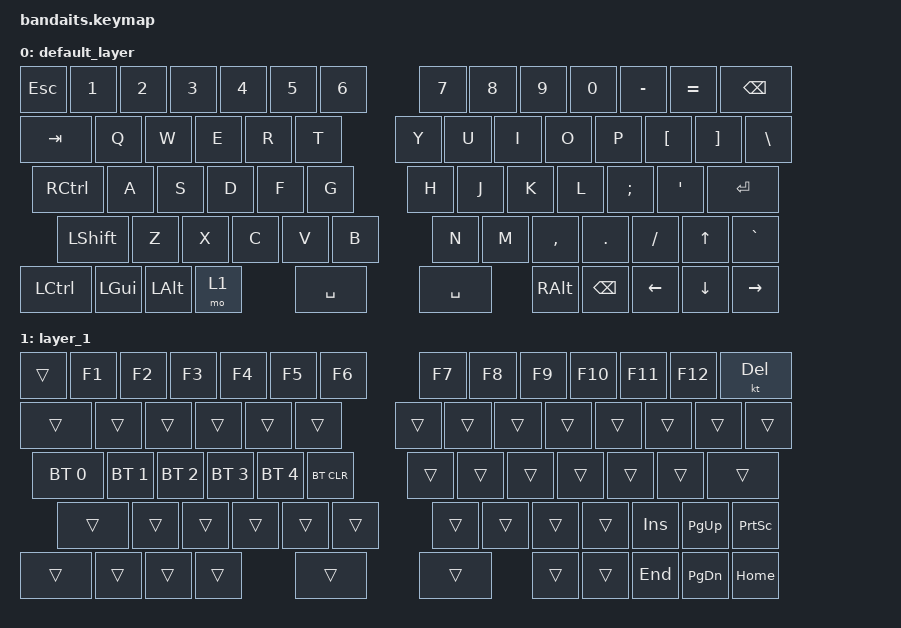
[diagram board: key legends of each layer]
#include <behaviors.dtsi>
#include <dt-bindings/zmk/bt.h>
#include <dt-bindings/zmk/keys.h>

/ {
    keymap {
        compatible = "zmk,keymap";

        default_layer {
            bindings = <
&kp ESC    &kp N1    &kp N2    &kp N3  &kp N4  &kp N5     &kp N6      &kp N7     &kp N8  &kp N9     &kp N0    &kp MINUS      &kp EQUAL       &kp BSPC
&kp TAB    &kp Q     &kp W     &kp E   &kp R   &kp T                  &kp Y      &kp U   &kp I      &kp O     &kp P          &kp LBKT        &kp RBKT        &kp BSLH
&kp RCTRL   &kp A     &kp S     &kp D   &kp F   &kp G                  &kp H      &kp J   &kp K      &kp L     &kp SEMI       &kp APOS        &kp ENTER
&kp LSHFT            &kp Z     &kp X   &kp C   &kp V      &kp B       &kp N      &kp M   &kp COMMA  &kp DOT   &kp FSLH       &kp UP_ARROW    &kp GRAVE
&kp LCTRL  &kp LGUI  &kp LALT  &mo 1           &kp SPACE              &kp SPACE                     &kp RALT  &kp BACKSPACE  &kp LEFT_ARROW  &kp DOWN_ARROW  &kp RIGHT
            >;
        };

        layer_1 {
            bindings = <
&trans        &kp F1        &kp F2        &kp F3        &kp F4        &kp F5      &kp F6      &kp F7  &kp F8  &kp F9  &kp F10  &kp F11     &kp F12    &kt DEL
&trans        &trans        &trans        &trans        &trans        &trans                  &trans  &trans  &trans  &trans   &trans      &trans     &trans           &trans
&bt BT_SEL 0  &bt BT_SEL 1  &bt BT_SEL 2  &bt BT_SEL 3  &bt BT_SEL 4  &bt BT_CLR              &trans  &trans  &trans  &trans   &trans      &trans     &trans
&trans                      &trans        &trans        &trans        &trans      &trans      &trans  &trans  &trans  &trans   &kp INSERT  &kp PG_UP  &kp PRINTSCREEN
&trans        &trans        &trans        &trans                      &trans                  &trans                  &trans   &trans      &kp END    &kp PG_DN        &kp HOME
            >;
        };
    };
};
